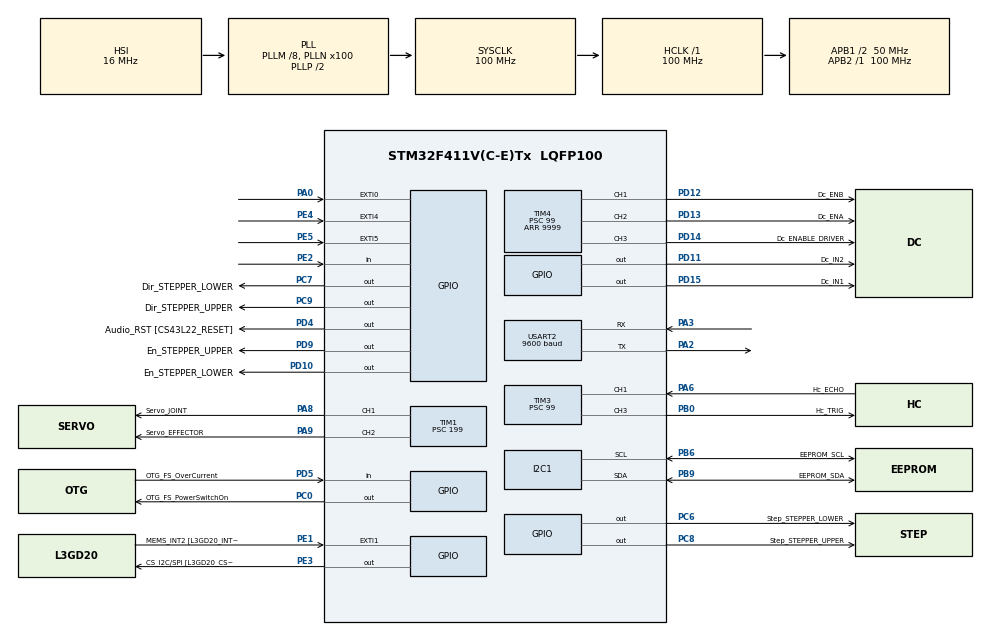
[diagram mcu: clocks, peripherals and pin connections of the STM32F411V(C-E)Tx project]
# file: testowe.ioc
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Dma.Request0=USART2_RX
Dma.USART2_RX.0.Direction=DMA_PERIPH_TO_MEMORY
Dma.USART2_RX.0.FIFOMode=DMA_FIFOMODE_DISABLE
Dma.USART2_RX.0.Instance=DMA1_Stream5
Dma.USART2_RX.0.MemDataAlignment=DMA_MDATAALIGN_BYTE
Dma.USART2_RX.0.MemInc=DMA_MINC_ENABLE
Dma.USART2_RX.0.Mode=DMA_CIRCULAR
Dma.USART2_RX.0.PeriphDataAlignment=DMA_PDATAALIGN_BYTE
Dma.USART2_RX.0.PeriphInc=DMA_PINC_DISABLE
Dma.USART2_RX.0.Priority=DMA_PRIORITY_LOW
I2C1.I2C_Mode=I2C_Fast
Mcu.Family=STM32F4
Mcu.Name=STM32F411V(C-E)Tx
Mcu.Package=LQFP100
NVIC.DMA1_Stream5_IRQn=true\:0\:0\:false\:false\:true\:false\:true
NVIC.PriorityGroup=NVIC_PRIORITYGROUP_0
NVIC.TIM1_BRK_TIM9_IRQn=true\:0\:0\:false\:false\:true\:true\:true
NVIC.TIM1_TRG_COM_TIM11_IRQn=true\:0\:0\:false\:false\:true\:true\:true
NVIC.TIM1_UP_TIM10_IRQn=true\:0\:0\:false\:false\:true\:true\:true
NVIC.TIM2_IRQn=true\:0\:0\:false\:false\:true\:true\:true
NVIC.TIM3_IRQn=true\:0\:0\:false\:false\:true\:true\:true
NVIC.TIM4_IRQn=true\:0\:0\:false\:false\:true\:true\:true
NVIC.USART2_IRQn=true\:0\:0\:false\:false\:true\:true\:true
PA0-WKUP.GPIO_ModeDefaultEXTI=GPIO_MODE_EVT_RISING
PA0-WKUP.Signal=GPXTI0
PA10.GPIO_Label=OTG_FS_ID
PA10.Signal=USB_OTG_FS_ID
PA11.GPIO_Label=OTG_FS_DM
PA11.Signal=USB_OTG_FS_DM
PA12.GPIO_Label=OTG_FS_DP
PA12.Signal=USB_OTG_FS_DP
PA13.GPIO_Label=SWDIO
PA13.Signal=SYS_JTMS-SWDIO
PA14.GPIO_Label=SWCLK
PA14.Signal=SYS_JTCK-SWCLK
PA2.Mode=Asynchronous
PA2.Signal=USART2_TX
PA3.Mode=Asynchronous
PA3.Signal=USART2_RX
PA4.GPIO_Label=I2S3_WS [CS43L22_LRCK]
PA4.GPIO_Mode=GPIO_MODE_AF_PP
PA4.GPIO_PuPd=GPIO_NOPULL
PA4.GPIO_Speed=GPIO_SPEED_FREQ_LOW
PA4.Signal=I2S3_WS
PA5.GPIO_Label=SPI1_SCK [L3GD20_SC/SPC]
PA5.Signal=SPI1_SCK
PA6.GPIO_Label=Hc_ECHO
PA6.Signal=S_TIM3_CH1
PA7.GPIO_Label=SPI1_MOSI [L3GD20_SDA/SDI/SDO]
PA7.Signal=SPI1_MOSI
PA8.GPIO_Label=Servo_JOINT
PA8.Signal=S_TIM1_CH1
PA9.GPIO_Label=Servo_EFFECTOR
PA9.Signal=S_TIM1_CH2
PB0.GPIO_Label=Hc_TRIG
PB0.Signal=S_TIM3_CH3
PB10.GPIO_Label=CLK_IN [MP45DT02_CLK]
PB10.Signal=I2S2_CK
PB12.Signal=I2S2_WS
PB3.GPIO_Label=SWO
PB3.Signal=SYS_JTDO-SWO
PB6.GPIO_Label=EEPROM_SCL
PB6.GPIO_Mode=GPIO_MODE_AF_OD
PB6.GPIO_PuPd=GPIO_NOPULL
PB6.GPIO_Speed=GPIO_SPEED_FREQ_LOW
PB6.Mode=I2C
PB6.Signal=I2C1_SCL
PB9.GPIO_Label=EEPROM_SDA
PB9.GPIO_Mode=GPIO_MODE_AF_OD
PB9.GPIO_PuPd=GPIO_NOPULL
PB9.GPIO_Speed=GPIO_SPEED_FREQ_LOW
PB9.Mode=I2C
PB9.Signal=I2C1_SDA
PC0.GPIO_Label=OTG_FS_PowerSwitchOn
PC0.PinState=GPIO_PIN_SET
PC0.Signal=GPIO_Output
PC10.GPIO_Label=I2S3_SCK [CS43L22_SCLK]
PC10.GPIO_Mode=GPIO_MODE_AF_PP
PC10.GPIO_PuPd=GPIO_NOPULL
PC10.GPIO_Speed=GPIO_SPEED_FREQ_LOW
PC10.Signal=I2S3_CK
PC12.GPIO_Label=I2S3_SD [CS43L22_SDIN]
PC12.GPIO_Mode=GPIO_MODE_AF_PP
PC12.GPIO_PuPd=GPIO_NOPULL
PC12.GPIO_Speed=GPIO_SPEED_FREQ_LOW
PC12.Signal=I2S3_SD
PC14-OSC32_IN.GPIO_Label=PC14-OSC32_IN
PC14-OSC32_IN.Signal=RCC_OSC32_IN
PC15-OSC32_OUT.GPIO_Label=PC15-OSC32_OUT
PC15-OSC32_OUT.Signal=RCC_OSC32_OUT
PC3.GPIO_Label=PDM_OUT [MP45DT02_DOUT]
PC3.Signal=I2S2_SD
PC6.GPIO_Label=Step_STEPPER_LOWER
PC6.GPIO_Speed=GPIO_SPEED_FREQ_VERY_HIGH
PC6.Signal=GPIO_Output
PC7.GPIO_Label=Dir_STEPPER_LOWER
PC7.Signal=GPIO_Output
PC8.GPIO_Label=Step_STEPPER_UPPER
PC8.Signal=GPIO_Output
PC9.GPIO_Label=Dir_STEPPER_UPPER
PC9.Signal=GPIO_Output
PD10.GPIO_Label=En_STEPPER_LOWER
PD10.GPIO_Speed=GPIO_SPEED_FREQ_MEDIUM
PD10.Signal=GPIO_Output
PD11.GPIO_Label=Dc_IN2
PD11.Signal=GPIO_Output
PD12.GPIO_Label=Dc_ENB
PD12.Signal=S_TIM4_CH1
PD13.GPIO_Label=Dc_ENA
PD13.Signal=S_TIM4_CH2
PD14.GPIO_Label=Dc_ENABLE_DRIVER
PD14.Signal=S_TIM4_CH3
PD15.GPIO_Label=Dc_IN1
PD15.Signal=GPIO_Output
PD4.GPIO_Label=Audio_RST [CS43L22_RESET]
PD4.Signal=GPIO_Output
PD5.GPIO_Label=OTG_FS_OverCurrent
PD5.Signal=GPIO_Input
PD9.GPIO_Label=En_STEPPER_UPPER
PD9.GPIO_Speed=GPIO_SPEED_FREQ_MEDIUM
PD9.Signal=GPIO_Output
PE1.GPIO_Label=MEMS_INT2 [L3GD20_INT2]
PE1.GPIO_ModeDefaultEXTI=GPIO_MODE_EVT_RISING
PE1.Signal=GPXTI1
PE2.Signal=GPIO_Input
PE3.GPIO_Label=CS_I2C/SPI [L3GD20_CS_I2C/SPI]
PE3.Signal=GPIO_Output
PE4.GPIO_ModeDefaultEXTI=GPIO_MODE_EVT_RISING
PE4.Signal=GPXTI4
PE5.GPIO_ModeDefaultEXTI=GPIO_MODE_EVT_RISING
PE5.Signal=GPXTI5
PH0\ -\ OSC_IN.GPIO_Label=PH0-OSC_IN
PH0\ -\ OSC_IN.Signal=RCC_OSC_IN
PH1\ -\ OSC_OUT.GPIO_Label=PH1-OSC_OUT
PH1\ -\ OSC_OUT.Signal=RCC_OSC_OUT
ProjectManager.HeapSize=0x200
ProjectManager.StackSize=0x400
ProjectManager.TargetToolchain=STM32CubeIDE
RCC.48MHZClocksFreq_Value=25000000
RCC.AHBFreq_Value=100000000
RCC.APB1CLKDivider=RCC_HCLK_DIV2
RCC.APB1Freq_Value=50000000
RCC.APB1TimFreq_Value=100000000
RCC.APB2Freq_Value=100000000
RCC.APB2TimFreq_Value=100000000
RCC.CortexFreq_Value=100000000
RCC.HCLKFreq_Value=100000000
RCC.HSE_VALUE=8000000
RCC.HSI_VALUE=16000000
RCC.LSE_VALUE=32768
RCC.PLLI2SM=5
RCC.PLLI2SN=200
RCC.PLLM=8
RCC.PLLN=100
RCC.PLLQ=8
RCC.SYSCLKFreq_VALUE=100000000
RCC.SYSCLKSource=RCC_SYSCLKSOURCE_PLLCLK
RCC.VCOOutputFreq_Value=200000000
SH.S_TIM1_CH1.0=TIM1_CH1,PWM Generation1 CH1
SH.S_TIM1_CH2.0=TIM1_CH2,PWM Generation2 CH2
SH.S_TIM3_CH1.0=TIM3_CH1,Input_Capture2_from_TI1
SH.S_TIM3_CH1.1=TIM3_CH1,Input_Capture1_from_TI1
SH.S_TIM3_CH3.0=TIM3_CH3,PWM Generation3 CH3
SH.S_TIM4_CH1.0=TIM4_CH1,PWM Generation1 CH1
SH.S_TIM4_CH2.0=TIM4_CH2,PWM Generation2 CH2
SH.S_TIM4_CH3.0=TIM4_CH3,PWM Generation3 CH3
TIM1.Channel-PWM\ Generation1\ CH1=TIM_CHANNEL_1
TIM1.Channel-PWM\ Generation2\ CH2=TIM_CHANNEL_2
TIM1.Period=9999
TIM1.Prescaler=199
TIM10.Period=9999
TIM10.Prescaler=9999
TIM11.Period=9999
TIM11.Prescaler=199
TIM2.Period=999
TIM2.Prescaler=99
TIM3.Channel-Input_Capture1_from_TI1=TIM_CHANNEL_1
TIM3.Channel-Input_Capture2_from_TI1=TIM_CHANNEL_2
TIM3.Channel-PWM\ Generation3\ CH3=TIM_CHANNEL_3
TIM3.ICPolarity_CH2=TIM_INPUTCHANNELPOLARITY_FALLING
TIM3.Period=0xFFFF
TIM3.Prescaler=99
TIM3.Pulse-PWM\ Generation3\ CH3=11
TIM4.Channel-PWM\ Generation1\ CH1=TIM_CHANNEL_1
TIM4.Channel-PWM\ Generation2\ CH2=TIM_CHANNEL_2
TIM4.Channel-PWM\ Generation3\ CH3=TIM_CHANNEL_3
TIM4.Period=9999
TIM4.Prescaler=99
TIM9.Period=9999
TIM9.Prescaler=49
USART2.BaudRate=9600
USART2.Parity=PARITY_NONE
USART2.VirtualMode=VM_ASYNC
USART2.WordLength=WORDLENGTH_8B
VP_TIM10_VS_ClockSourceINT.Mode=Enable_Timer
VP_TIM11_VS_ClockSourceINT.Mode=Enable_Timer
VP_TIM1_VS_ClockSourceINT.Mode=Internal
VP_TIM2_VS_ClockSourceINT.Mode=Internal
VP_TIM3_VS_ClockSourceINT.Mode=Internal
VP_TIM4_VS_ClockSourceINT.Mode=Internal
VP_TIM9_VS_ClockSourceINT.Mode=Internal
board=STM32F411E-DISCO

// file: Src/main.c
/* USER CODE BEGIN Header */
/**
 ******************************************************************************
 * @file           : main.c
 * @brief          : Main program body
 ******************************************************************************
 * @attention
 *
 * <h2><center>&copy; Copyright (c) 2020 STMicroelectronics.
 * All rights reserved.</center></h2>
 *
 * This software component is licensed by ST under BSD 3-Clause license,
 * the "License"; You may not use this file except in compliance with the
 * License. You may obtain a copy of the License at:
 *                        opensource.org/licenses/BSD-3-Clause
 *
 ******************************************************************************
 */
/* USER CODE END Header */

#include "main.h"
#include "dma.h"
#include "i2c.h"
#include "tim.h"
#include "usart.h"
#include "gpio.h"

/* USER CODE BEGIN Includes */
#include <stdio.h>
#include <string.h>
#include <stdlib.h>
#include <math.h>
/* USER CODE END Includes */

/* USER CODE BEGIN PTD */
struct Vector3D {
	float x;
	float y;
	float z;
};
/* USER CODE END PTD */

/* USER CODE BEGIN PD */
#define L1 15.00
#define L2 23.00
#define podstawa 15.00
#define M_PI 3.14159265358979323846
#define EEPROM_ADDRESS_W 0xA0
/* USER CODE END PD */

/* USER CODE BEGIN PV */
float Hcsr04_Distance_tmp;
int H_sum;

char buff[20];
uint8_t Received[15];
uint8_t flag;

uint8_t flaga_dolnego_stepp;
uint8_t out_dolnego_stepp = 0;

uint8_t flaga_gornego_stepp;
uint8_t out_gornego_stepp = 0;

uint8_t flaga_servo_joint;
uint8_t flaga_servo_effector;

int pwm_duty;
int pwm_duty_servo_joint;
int pwm_duty_servo_effector;
uint16_t step_dolnego;
uint16_t step_gornego;

char *newline;
char tmp[16];
struct Vector3D p[3];
uint16_t zapis[3];
uint16_t odczyt[3];

float alfa = 0.00;
float beta = 0.00;
float sigma = 0.00;

uint16_t step_dolnego_fabrik;
uint16_t step_gornego_fabrik;
uint8_t flaga_fabrik_dolny;
uint8_t flaga_fabrik_gorny;

/* USER CODE END PV */

void SystemClock_Config(void);

/* USER CODE BEGIN 0 */
void Fabrik(struct Vector3D target) {
	alfa = (step_dolnego % 12900) * 360.00 / 12900.00;
	beta = step_gornego * 360.00 / 200.00;
	sigma = (pwm_duty_servo_joint - 250.00) * 180.00 / 1000.00 + 90.00;

	p[1].x = cosf(alfa * M_PI / 180.00) * cosf(beta * M_PI / 180.00) * L1;
	p[1].y = sinf(alfa * M_PI / 180.0) * cosf(beta * M_PI / 180.0) * L1;
	p[1].z = podstawa + cosf((90.0 - beta) * M_PI / 180.0) * L1;
	p[2].x = cosf(alfa * M_PI / 180.0)
			* (cosf(beta * M_PI / 180.0) * L1
					+ sinf((beta + sigma - 90.0) * M_PI / 180.0) * L2);
	p[2].y = sinf(alfa * M_PI / 180.0)
			* (cosf(beta * M_PI / 180.0) * L1
					+ sinf((beta + sigma - 90.0) * M_PI / 180.0) * L2);
	p[2].z = podstawa + cosf((90.0 - beta) * M_PI / 180.0) * L1
			- cosf((beta + sigma - 90.0) * M_PI / 180.0) * L2;
	float R[3];
	float Lambda[3];

	float D[2];
	D[0] = sqrt(
			pow((p[1].x - p[0].x), 2) + pow((p[1].y - p[0].y), 2)
					+ pow((p[1].z - p[0].z), 2));
	D[1] = sqrt(
			pow((p[2].x - p[1].x), 2) + pow((p[2].y - p[1].y), 2)
					+ pow((p[2].z - p[1].z), 2));

	float Dist = sqrt(
			pow((p[0].x - target.x), 2) + pow((p[0].y - target.y), 2)
					+ pow((p[0].z - target.z), 2));

	struct Vector3D B;

	float DifA;

	float Tol = 0.000001;

	if (Dist > D[0] + D[1]) {
		for (int i = 0; i < 3; i++) {
			R[i] = sqrt(
					pow((target.x - p[i].x), 2) + pow((target.y - p[i].y), 2)
							+ pow((target.z - p[i].z), 2));
			Lambda[i] = D[i] / R[i];

			if (i > 0) {
				p[i].x = (1 - Lambda[i - 1]) * p[i - 1].x
						+ Lambda[i - 1] * target.x;
				p[i].y = (1 - Lambda[i - 1]) * p[i - 1].y
						+ Lambda[i - 1] * target.y;
				p[i].z = (1 - Lambda[i - 1]) * p[i - 1].z
						+ Lambda[i - 1] * target.z;
			}
		}
	} else {
		B.x = p[0].x;
		B.y = p[0].y;
		B.z = p[0].z;

		DifA = sqrt(
				pow((p[2].x - target.x), 2) + pow((p[2].y - target.y), 2)
						+ pow((p[2].z - target.z), 2));
		while (DifA > Tol) {
			float tmp = DifA;

			p[2].x = target.x;
			p[2].y = target.y;
			p[2].z = target.z;

			for (int i = 1; i > -1; i--) {
				R[i] = sqrt(
						pow((p[i + 1].x - p[i].x), 2)
								+ pow((p[i + 1].y - p[i].y), 2)
								+ pow((p[i + 1].z - p[i].z), 2));
				Lambda[i] = D[i] / R[i];
				p[i].x = (1 - Lambda[i]) * p[i + 1].x + Lambda[i] * p[i].x;
				p[i].y = (1 - Lambda[i]) * p[i + 1].y + Lambda[i] * p[i].y;
				p[i].z = (1 - Lambda[i]) * p[i + 1].z + Lambda[i] * p[i].z;
			}

			p[0].x = B.x;
			p[0].y = B.y;
			p[0].z = B.z;

			for (int i = 0; i < 2; i++) {
				R[i] = sqrt(
						pow((p[i + 1].x - p[i].x), 2)
								+ pow((p[i + 1].y - p[i].y), 2)
								+ pow((p[i + 1].z - p[i].z), 2));
				Lambda[i] = D[i] / R[i];
				p[i + 1].x = (1 - Lambda[i]) * p[i].x + Lambda[i] * p[i + 1].x;
				p[i + 1].y = (1 - Lambda[i]) * p[i].y + Lambda[i] * p[i + 1].y;
				p[i + 1].z = (1 - Lambda[i]) * p[i].z + Lambda[i] * p[i + 1].z;
			}

			DifA = sqrt(
					pow((p[2].x - target.x), 2) + pow((p[2].y - target.y), 2)
							+ pow((p[2].z - target.z), 2));
			if (tmp == DifA) {
				break;
			}
		}
	}
	if (target.x > 0 && target.y > 0) {
		alfa = atanf(p[2].y / p[2].x) * 180 / M_PI;
	} else if (target.x < 0 && target.y > 0) {
		alfa = -atanf(p[2].y / p[2].x) * 180 / M_PI + 90.0;
	} else if (target.x < 0 && target.y < 0) {
		alfa = atanf(p[2].y / p[2].x) * 180 / M_PI + 180.0;
	} else if (target.x > 0 && target.y < 0) {
		alfa = -atanf(p[2].y / p[2].x) * 180 / M_PI + 270.0;
	} else if (target.x == 0 && target.y == 0) {
		alfa = 0.0;
	} else if (target.x > 0 && target.y == 0) {
		alfa = 0.0;
	} else if (target.x == 0 && target.y > 0) {
		alfa = 90.0;
	} else if (target.x < 0 && target.y == 0) {
		alfa = 180.0;
	} else if (target.x == 0 && target.y < 0) {
		alfa = 270.0;
	}
	beta = acosf(sqrt(pow(p[1].x, 2) + pow(p[1].y, 2)) / L1) * 180 / M_PI;
		sigma = asinf(sqrt(pow(p[1].x, 2) + pow(p[1].y, 2)) / L1) * 180 / M_PI + asinf((sqrt(pow(p[2].x, 2) + pow(p[2].y, 2)) - sqrt(pow(p[1].x, 2) + pow(p[1].y, 2))) / L2) * 180 / M_PI;

	step_dolnego_fabrik = alfa * 12900.00 / 360.00;
	step_gornego_fabrik = beta * 200.00 / 360.00;
	pwm_duty_servo_joint = sigma * 1000.00 / 180.00 + 250.00;
	__HAL_TIM_SET_COMPARE(&htim1, TIM_CHANNEL_1, pwm_duty_servo_joint);

	if (step_dolnego > step_dolnego_fabrik) {
		HAL_GPIO_WritePin(Dir_STEPPER_LOWER_GPIO_Port, Dir_STEPPER_LOWER_Pin,
				GPIO_PIN_RESET);
		HAL_GPIO_WritePin(En_STEPPER_LOWER_GPIO_Port, En_STEPPER_LOWER_Pin,
				GPIO_PIN_SET);
		flaga_fabrik_dolny = 1;
	} else if (step_dolnego < step_dolnego_fabrik) {
		HAL_GPIO_WritePin(Dir_STEPPER_LOWER_GPIO_Port, Dir_STEPPER_LOWER_Pin,
				GPIO_PIN_SET);
		HAL_GPIO_WritePin(En_STEPPER_LOWER_GPIO_Port, En_STEPPER_LOWER_Pin,
				GPIO_PIN_SET);
		flaga_fabrik_dolny = 2;
	}

	if (step_gornego > step_gornego_fabrik) {
		HAL_GPIO_WritePin(Dir_STEPPER_UPPER_GPIO_Port, Dir_STEPPER_UPPER_Pin,
				GPIO_PIN_SET);
		HAL_GPIO_WritePin(En_STEPPER_UPPER_GPIO_Port, En_STEPPER_UPPER_Pin,
				GPIO_PIN_SET);
		flaga_fabrik_gorny = 1;
	} else if (step_gornego < step_gornego_fabrik) {
		HAL_GPIO_WritePin(Dir_STEPPER_UPPER_GPIO_Port, Dir_STEPPER_UPPER_Pin,
				GPIO_PIN_RESET);
		HAL_GPIO_WritePin(En_STEPPER_UPPER_GPIO_Port, En_STEPPER_UPPER_Pin,
				GPIO_PIN_SET);
		flaga_fabrik_gorny = 2;
	}

}

int _write(int file, char *ptr, int len) {
	HAL_UART_Transmit(&huart2, (uint8_t*) ptr, len, 50);
	return len;
}

void HAL_TIM_IC_CaptureCallback(TIM_HandleTypeDef *htim) {
	if (htim == &htim3) {
		uint16_t time;
		H_sum = 0;

		time = __HAL_TIM_GetCompare(&htim3, TIM_CHANNEL_2)
				- __HAL_TIM_GetCompare(&htim3, TIM_CHANNEL_1);
		if (time < 23615) {
			Hcsr04_Distance_tmp = (float) time / 2.0 * 0.0343;
			sprintf(buff, "X %.2f ", Hcsr04_Distance_tmp);
			for (int i = 0; i < strlen(buff); i++) {
				H_sum += buff[i];
			}
			H_sum = H_sum % 37;
		}
	}
}

void HAL_TIM_PeriodElapsedCallback(TIM_HandleTypeDef *htim) {
	if (htim == &htim2) {
		if (flag == 1 && flaga_dolnego_stepp == 1 && step_dolnego < 25800) {
			if (out_dolnego_stepp) {
				out_dolnego_stepp = 0;
				HAL_GPIO_WritePin(Step_STEPPER_LOWER_GPIO_Port,
				Step_STEPPER_LOWER_Pin, GPIO_PIN_RESET);
			} else {
				step_dolnego++;
				out_dolnego_stepp = 1;
				HAL_GPIO_WritePin(Step_STEPPER_LOWER_GPIO_Port,
				Step_STEPPER_LOWER_Pin, GPIO_PIN_SET);
			}
		} else if (flag == 1 && flaga_dolnego_stepp == 2 && step_dolnego > 0) {
			if (out_dolnego_stepp) {
				out_dolnego_stepp = 0;
				HAL_GPIO_WritePin(Step_STEPPER_LOWER_GPIO_Port,
				Step_STEPPER_LOWER_Pin, GPIO_PIN_RESET);
			} else {
				step_dolnego--;
				out_dolnego_stepp = 1;
				HAL_GPIO_WritePin(Step_STEPPER_LOWER_GPIO_Port,
				Step_STEPPER_LOWER_Pin, GPIO_PIN_SET);
			}
		} else if (flaga_fabrik_dolny == 1) {
			if (out_dolnego_stepp) {
				out_dolnego_stepp = 0;
				HAL_GPIO_WritePin(Step_STEPPER_LOWER_GPIO_Port,
				Step_STEPPER_LOWER_Pin, GPIO_PIN_RESET);
			} else {
				step_dolnego--;
				out_dolnego_stepp = 1;
				HAL_GPIO_WritePin(Step_STEPPER_LOWER_GPIO_Port,
				Step_STEPPER_LOWER_Pin, GPIO_PIN_SET);
			}
			if (step_dolnego == step_dolnego_fabrik) {
				flaga_fabrik_dolny = 0;
				HAL_GPIO_WritePin(En_STEPPER_LOWER_GPIO_Port,
				En_STEPPER_LOWER_Pin, GPIO_PIN_RESET);
			}
		} else if (flaga_fabrik_dolny == 2) {
			if (out_dolnego_stepp) {
				out_dolnego_stepp = 0;
				HAL_GPIO_WritePin(Step_STEPPER_LOWER_GPIO_Port,
				Step_STEPPER_LOWER_Pin, GPIO_PIN_RESET);
			} else {
				step_dolnego++;
				out_dolnego_stepp = 1;
				HAL_GPIO_WritePin(Step_STEPPER_LOWER_GPIO_Port,
				Step_STEPPER_LOWER_Pin, GPIO_PIN_SET);
			}
			if (step_dolnego == step_dolnego_fabrik) {
				flaga_fabrik_dolny = 0;
				HAL_GPIO_WritePin(En_STEPPER_LOWER_GPIO_Port,
				En_STEPPER_LOWER_Pin, GPIO_PIN_RESET);
			}
		}
	}
	if (htim == &htim11) {
		if (flag == 1 && flaga_gornego_stepp == 1 && step_gornego > 0) {
			if (out_gornego_stepp) {
				out_gornego_stepp = 0;
				HAL_GPIO_WritePin(Step_STEPPER_UPPER_GPIO_Port,
				Step_STEPPER_UPPER_Pin, GPIO_PIN_RESET);
			} else {
				out_gornego_stepp = 1;
				step_gornego--;
				HAL_GPIO_WritePin(Step_STEPPER_UPPER_GPIO_Port,
				Step_STEPPER_UPPER_Pin, GPIO_PIN_SET);

			}
		} else if (flag == 1 && flaga_gornego_stepp == 2
				&& step_gornego < 116) {
			if (out_gornego_stepp) {
				out_gornego_stepp = 0;
				HAL_GPIO_WritePin(Step_STEPPER_UPPER_GPIO_Port,
				Step_STEPPER_UPPER_Pin, GPIO_PIN_RESET);
			} else {
				out_gornego_stepp = 1;
				step_gornego++;
				HAL_GPIO_WritePin(Step_STEPPER_UPPER_GPIO_Port,
				Step_STEPPER_UPPER_Pin, GPIO_PIN_SET);
			}
		}else if (flaga_fabrik_gorny == 1) {
			if (out_gornego_stepp) {
				out_gornego_stepp = 0;
				HAL_GPIO_WritePin(Step_STEPPER_UPPER_GPIO_Port,
				Step_STEPPER_UPPER_Pin, GPIO_PIN_RESET);
			} else {
				step_gornego--;
				out_gornego_stepp = 1;
				HAL_GPIO_WritePin(Step_STEPPER_UPPER_GPIO_Port,
				Step_STEPPER_UPPER_Pin, GPIO_PIN_SET);
			}
			if (step_gornego == step_gornego_fabrik) {
				flaga_fabrik_gorny = 0;
			}
		} else if (flaga_fabrik_gorny == 2) {
			if (out_gornego_stepp) {
				out_gornego_stepp = 0;
				HAL_GPIO_WritePin(Step_STEPPER_UPPER_GPIO_Port,
				Step_STEPPER_UPPER_Pin, GPIO_PIN_RESET);
			} else {
				step_gornego++;
				out_gornego_stepp = 1;
				HAL_GPIO_WritePin(Step_STEPPER_UPPER_GPIO_Port,
				Step_STEPPER_UPPER_Pin, GPIO_PIN_SET);
			}
			if (step_gornego == step_gornego_fabrik) {
				flaga_fabrik_gorny = 0;
			}
		}
	}
	if (htim == &htim10) {
		printf("X %.2f #%d \r\n", Hcsr04_Distance_tmp, H_sum);

	}
	if (htim == &htim9) {
		if (flag == 1 && flaga_servo_joint == 1
				&& pwm_duty_servo_joint < 1250) {
			pwm_duty_servo_joint++;
			__HAL_TIM_SET_COMPARE(&htim1, TIM_CHANNEL_1, pwm_duty_servo_joint);
		} else if (flag == 1 && flaga_servo_joint == 2
				&& pwm_duty_servo_joint > 250) {
			pwm_duty_servo_joint--;
			__HAL_TIM_SET_COMPARE(&htim1, TIM_CHANNEL_1, pwm_duty_servo_joint);
		} else if (flag == 1 && flaga_servo_effector == 1
				&& pwm_duty_servo_effector < 1250) {
			pwm_duty_servo_effector += 2;
			__HAL_TIM_SET_COMPARE(&htim1, TIM_CHANNEL_2,
					pwm_duty_servo_effector);
		} else if (flag == 1 && flaga_servo_effector == 2
				&& pwm_duty_servo_effector > 250) {
			pwm_duty_servo_effector -= 2;
			__HAL_TIM_SET_COMPARE(&htim1, TIM_CHANNEL_2,
					pwm_duty_servo_effector);
		}
	}
}

void HAL_UART_RxCpltCallback(UART_HandleTypeDef *huart) {
	flag = 1;
	HAL_UART_Receive_DMA(&huart2, Received, 15);
}

/* USER CODE END 0 */

int main(void) {
	/* USER CODE BEGIN 1 */
	flag = 0;
	H_sum = 0;
	pwm_duty = 0;
	flaga_dolnego_stepp = 0;
	flaga_gornego_stepp = 0;
	pwm_duty_servo_joint = 250;
	pwm_duty_servo_effector = 250;
	flaga_servo_joint = 0;
	flaga_servo_effector = 0;
	step_dolnego = 12900;
	step_gornego = 0;
	struct Vector3D target;
	step_dolnego_fabrik = 0;
	step_gornego_fabrik = 0;
	flaga_fabrik_dolny = 0;
	char *token;

	p[0].x = 0;
	p[0].y = 0;
	p[0].z = podstawa;
	/* USER CODE END 1 */

	/* MCU Configuration--------------------------------------------------------*/

	/* Reset of all peripherals, Initializes the Flash interface and the Systick. */
	HAL_Init();

	/* Configure the system clock */
	SystemClock_Config();

	/* Initialize all configured peripherals */
	MX_GPIO_Init();
	MX_DMA_Init();
	MX_TIM3_Init();
	MX_TIM4_Init();
	MX_USART2_UART_Init();
	MX_TIM1_Init();
	MX_I2C1_Init();
	MX_TIM2_Init();
	MX_TIM11_Init();
	MX_TIM9_Init();
	MX_TIM10_Init();
	/* USER CODE BEGIN 2 */

	HAL_TIM_Base_Start(&htim4);
	HAL_TIM_PWM_Start(&htim4, TIM_CHANNEL_1);
	HAL_TIM_PWM_Start(&htim4, TIM_CHANNEL_2);
	HAL_TIM_PWM_Start(&htim4, TIM_CHANNEL_3);

	HAL_TIM_Base_Start(&htim3);
	HAL_TIM_PWM_Start(&htim3, TIM_CHANNEL_3);
	HAL_TIM_IC_Start(&htim3, TIM_CHANNEL_1);
	HAL_TIM_IC_Start_IT(&htim3, TIM_CHANNEL_2);

	HAL_TIM_Base_Start_IT(&htim2);
	HAL_TIM_Base_Start_IT(&htim9);
	HAL_TIM_Base_Start_IT(&htim10);
	HAL_TIM_Base_Start_IT(&htim11);

	HAL_TIM_Base_Start(&htim1);
	HAL_TIM_PWM_Start(&htim1, TIM_CHANNEL_1);
	HAL_TIM_PWM_Start(&htim1, TIM_CHANNEL_2);

	HAL_UART_Receive_DMA(&huart2, Received, 15);
	HAL_I2C_Mem_Read(&hi2c1, 0xa0, 0x10, 1, (uint16_t*) &odczyt, sizeof(odczyt),
			50);
	pwm_duty_servo_joint = odczyt[1];
	step_dolnego = odczyt[0];
	step_gornego = odczyt[2];
	__HAL_TIM_SET_COMPARE(&htim1, TIM_CHANNEL_1, pwm_duty_servo_joint);

	/* USER CODE END 2 */

	/* Infinite loop */
	/* USER CODE BEGIN WHILE */
	while (1) {
		if (flag == 1) {
			token =strtok(Received, " ");
			switch (atoi(token)) {
			case 0:
				if (Hcsr04_Distance_tmp >= 50) {
					HAL_GPIO_WritePin(Dc_IN1_GPIO_Port, Dc_IN1_Pin,
							GPIO_PIN_RESET);
					HAL_GPIO_WritePin(Dc_IN2_GPIO_Port, Dc_IN2_Pin,
							GPIO_PIN_RESET);

					if (pwm_duty < 3000) {
						pwm_duty += 1;
					}
					__HAL_TIM_SET_COMPARE(&htim4, TIM_CHANNEL_1, pwm_duty);
					__HAL_TIM_SET_COMPARE(&htim4, TIM_CHANNEL_2, pwm_duty);
					__HAL_TIM_SET_COMPARE(&htim4, TIM_CHANNEL_3, pwm_duty);
				} else {
					HAL_GPIO_WritePin(Dc_IN2_GPIO_Port, Dc_IN2_Pin,
							GPIO_PIN_RESET);
					HAL_GPIO_WritePin(Dc_IN1_GPIO_Port, Dc_IN1_Pin,
							GPIO_PIN_RESET);

					__HAL_TIM_SET_COMPARE(&htim4, TIM_CHANNEL_3, 0);
					__HAL_TIM_SET_COMPARE(&htim4, TIM_CHANNEL_2, 0);
					__HAL_TIM_SET_COMPARE(&htim4, TIM_CHANNEL_1, 0);
				}
				break;

			case 1:
				HAL_GPIO_WritePin(Dc_IN1_GPIO_Port, Dc_IN1_Pin, GPIO_PIN_RESET);
				HAL_GPIO_WritePin(Dc_IN2_GPIO_Port, Dc_IN2_Pin, GPIO_PIN_SET);

				if (pwm_duty < 3000) {
					pwm_duty += 1;
				}
				__HAL_TIM_SET_COMPARE(&htim4, TIM_CHANNEL_3, pwm_duty);
				__HAL_TIM_SET_COMPARE(&htim4, TIM_CHANNEL_2, pwm_duty);
				__HAL_TIM_SET_COMPARE(&htim4, TIM_CHANNEL_1, pwm_duty);
				break;

			case 2:
				HAL_GPIO_WritePin(Dc_IN1_GPIO_Port, Dc_IN1_Pin, GPIO_PIN_SET);
				HAL_GPIO_WritePin(Dc_IN2_GPIO_Port, Dc_IN2_Pin, GPIO_PIN_RESET);

				if (pwm_duty < 3000) {
					pwm_duty += 1;
				}
				__HAL_TIM_SET_COMPARE(&htim4, TIM_CHANNEL_3, pwm_duty);
				__HAL_TIM_SET_COMPARE(&htim4, TIM_CHANNEL_2, pwm_duty);
				__HAL_TIM_SET_COMPARE(&htim4, TIM_CHANNEL_1, pwm_duty);
				break;

			case 3:
				HAL_GPIO_WritePin(Dc_IN1_GPIO_Port, Dc_IN1_Pin, GPIO_PIN_SET);
				HAL_GPIO_WritePin(Dc_IN2_GPIO_Port, Dc_IN2_Pin, GPIO_PIN_SET);

				if (pwm_duty < 3000) {
					pwm_duty += 1;
				}
				__HAL_TIM_SET_COMPARE(&htim4, TIM_CHANNEL_3, pwm_duty);
				__HAL_TIM_SET_COMPARE(&htim4, TIM_CHANNEL_2, pwm_duty);
				__HAL_TIM_SET_COMPARE(&htim4, TIM_CHANNEL_1, pwm_duty);
				break;

			case 4:
				flaga_dolnego_stepp = 1;
				HAL_GPIO_WritePin(Dir_STEPPER_LOWER_GPIO_Port,
				Dir_STEPPER_LOWER_Pin, GPIO_PIN_SET);
				HAL_GPIO_WritePin(En_STEPPER_LOWER_GPIO_Port,
				En_STEPPER_LOWER_Pin, GPIO_PIN_SET);
				break;

			case 5:
				flaga_dolnego_stepp = 2;
				HAL_GPIO_WritePin(Dir_STEPPER_LOWER_GPIO_Port,
				Dir_STEPPER_LOWER_Pin, GPIO_PIN_RESET);
				HAL_GPIO_WritePin(En_STEPPER_LOWER_GPIO_Port,
				En_STEPPER_LOWER_Pin, GPIO_PIN_SET);
				break;

			case 6:
				flaga_gornego_stepp = 2;
				HAL_GPIO_WritePin(Dir_STEPPER_UPPER_GPIO_Port,
				Dir_STEPPER_UPPER_Pin, GPIO_PIN_RESET);
				HAL_GPIO_WritePin(En_STEPPER_UPPER_GPIO_Port,
				En_STEPPER_UPPER_Pin, GPIO_PIN_SET);
				break;

			case 7:
				flaga_servo_joint = 2;
				break;

			case 8:
				flaga_servo_joint = 1;
				break;

			case 9:
				flaga_servo_effector = 1;
				break;

			case 10:
				flaga_servo_effector = 2;
				break;

			case 11:
				flaga_gornego_stepp = 1;
				HAL_GPIO_WritePin(Dir_STEPPER_UPPER_GPIO_Port,
				Dir_STEPPER_UPPER_Pin, GPIO_PIN_SET);
				HAL_GPIO_WritePin(En_STEPPER_UPPER_GPIO_Port,
				En_STEPPER_UPPER_Pin, GPIO_PIN_SET);
				break;

			case 12:
				HAL_GPIO_WritePin(En_STEPPER_UPPER_GPIO_Port,
				En_STEPPER_UPPER_Pin, GPIO_PIN_RESET);
				step_gornego = 116;
				break;

			case 13:
//				token=strtok(NULL," ");
//				target.x=atof(token);
//				token=strtok(NULL," ");
//				target.y=atof(token);
//				token=strtok(NULL, " ");
//				target.z=atof(token);
//				free(token);

				target.x=10;
				target.y=12;
				target.z=22;
				Fabrik(target);

				break;

			default:
				HAL_GPIO_WritePin(Dc_IN2_GPIO_Port, Dc_IN2_Pin, GPIO_PIN_RESET);
				HAL_GPIO_WritePin(Dc_IN1_GPIO_Port, Dc_IN1_Pin, GPIO_PIN_RESET);
				__HAL_TIM_SET_COMPARE(&htim4, TIM_CHANNEL_3, 0);
				__HAL_TIM_SET_COMPARE(&htim4, TIM_CHANNEL_2, 0);
				__HAL_TIM_SET_COMPARE(&htim4, TIM_CHANNEL_1, 0);
				flaga_servo_joint = 0;
				flaga_servo_effector = 0;
				pwm_duty = 0;
				flag = 0;
				flaga_dolnego_stepp = 0;
				flaga_gornego_stepp = 0;
				break;
			}
			/* USER CODE END WHILE */

			/* USER CODE BEGIN 3 */
			//  HAL_Delay(10);
		}
		if(flaga_dolnego_stepp ==0 && flaga_fabrik_dolny ==0){
			HAL_GPIO_WritePin(En_STEPPER_LOWER_GPIO_Port,
			En_STEPPER_LOWER_Pin, GPIO_PIN_RESET);
		}

			zapis[0] = step_dolnego;
			zapis[1] = pwm_duty_servo_joint;
			zapis[2] = step_gornego;
			HAL_I2C_Mem_Write(&hi2c1, 0xa0, 0x10, 1, (uint16_t*) &zapis,
					sizeof(zapis), 50);
	}

	/* USER CODE END 3 */
}

void SystemClock_Config(void) {
	RCC_OscInitTypeDef RCC_OscInitStruct = { 0 };
	RCC_ClkInitTypeDef RCC_ClkInitStruct = { 0 };

	/** Configure the main internal regulator output voltage
	 */
	__HAL_RCC_PWR_CLK_ENABLE();
	__HAL_PWR_VOLTAGESCALING_CONFIG(PWR_REGULATOR_VOLTAGE_SCALE1);
	/** Initializes the CPU, AHB and APB busses clocks
	 */
	RCC_OscInitStruct.OscillatorType = RCC_OSCILLATORTYPE_HSI;
	RCC_OscInitStruct.HSIState = RCC_HSI_ON;
	RCC_OscInitStruct.HSICalibrationValue = RCC_HSICALIBRATION_DEFAULT;
	RCC_OscInitStruct.PLL.PLLState = RCC_PLL_ON;
	RCC_OscInitStruct.PLL.PLLSource = RCC_PLLSOURCE_HSI;
	RCC_OscInitStruct.PLL.PLLM = 8;
	RCC_OscInitStruct.PLL.PLLN = 100;
	RCC_OscInitStruct.PLL.PLLP = RCC_PLLP_DIV2;
	RCC_OscInitStruct.PLL.PLLQ = 8;
	if (HAL_RCC_OscConfig(&RCC_OscInitStruct) != HAL_OK) {
		Error_Handler();
	}
	/** Initializes the CPU, AHB and APB busses clocks
	 */
	RCC_ClkInitStruct.ClockType = RCC_CLOCKTYPE_HCLK | RCC_CLOCKTYPE_SYSCLK
			| RCC_CLOCKTYPE_PCLK1 | RCC_CLOCKTYPE_PCLK2;
	RCC_ClkInitStruct.SYSCLKSource = RCC_SYSCLKSOURCE_PLLCLK;
	RCC_ClkInitStruct.AHBCLKDivider = RCC_SYSCLK_DIV1;
	RCC_ClkInitStruct.APB1CLKDivider = RCC_HCLK_DIV2;
	RCC_ClkInitStruct.APB2CLKDivider = RCC_HCLK_DIV1;

	if (HAL_RCC_ClockConfig(&RCC_ClkInitStruct, FLASH_LATENCY_3) != HAL_OK) {
		Error_Handler();
	}
}

void Error_Handler(void) {
}

/************************ (C) COPYRIGHT STMicroelectronics *****END OF FILE****/
